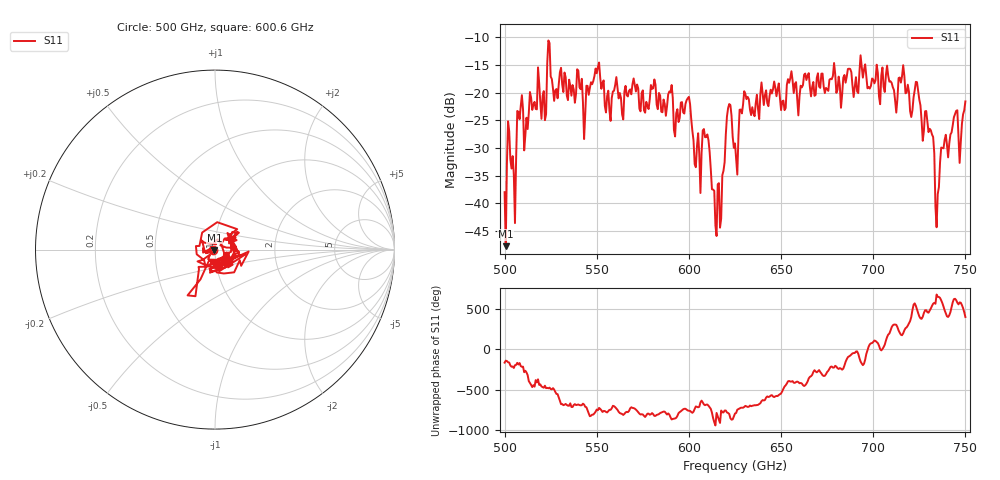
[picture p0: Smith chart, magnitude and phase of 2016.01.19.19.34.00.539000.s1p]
!Created with skrf (http://scikit-rf.org).
# GHz S RI R 50.0
!freq ReS11 ImS11
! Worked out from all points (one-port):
!   401 points, 500 GHz to 750 GHz, reference 50 ohm
!   lowest |S11| = -47.8 dB at 500.6 GHz (marker M1), VSWR 1.01, Z = 49.7 - j0.265 ohm
!   |S11| at or under -10 dB: start of sweep to end of sweep
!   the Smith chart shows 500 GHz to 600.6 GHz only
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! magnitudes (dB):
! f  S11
! 500 GHz  -38.0
! 500.6 GHz  -47.8
! 503.1 GHz  -32.1
! 505 GHz  -34.8
! 508.1 GHz  -24.8
! 521.2 GHz  -19.7
! 524.4 GHz  -11.0
! 527.5 GHz  -19.6
! 531.2 GHz  -18.5
! 562.5 GHz  -20.1
! 580.6 GHz  -19.2
! 593.8 GHz  -23.0
! 599.4 GHz  -21.0
! 605 GHz  -27.3
! 609.4 GHz  -28.0
! 615.6 GHz  -36.6
! 618.1 GHz  -34.9
! 621.2 GHz  -22.8
! 625 GHz  -29.2
! 630.6 GHz  -20.2
! 656.2 GHz  -17.8
! 687.5 GHz  -15.7
! 718.8 GHz  -18.5
! 731.2 GHz  -26.8
! 735 GHz  -38.3
! 738.1 GHz  -30.1
! 747.5 GHz  -29.0
! 750 GHz  -21.6
